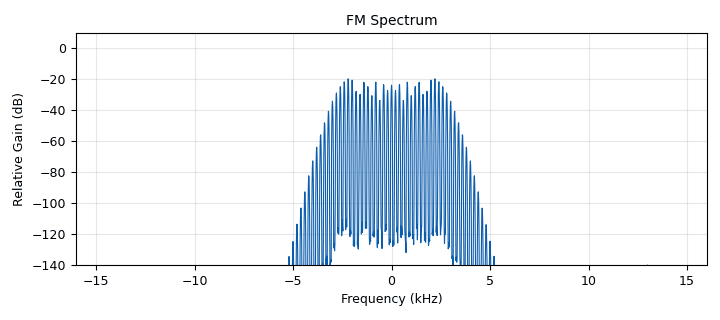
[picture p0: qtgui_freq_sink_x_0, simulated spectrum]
options:
  parameters:
    author: jithe
    generate_options: qt_gui
    id: fm_modulation
    output_language: python
    title: Not titled yet
  states: {}

blocks:
- name: samp_rate
  id: variable
  parameters:
    value: '32000'
  states: {}
- name: analog_frequency_modulator_fc_0
  id: analog_frequency_modulator_fc
  parameters:
    sensitivity: '0.5'
  states: {}
- name: analog_sig_source_x_0
  id: analog_sig_source_x
  parameters:
    amp: '1'
    freq: '200'
    offset: '0'
    phase: '0'
    samp_rate: samp_rate
    type: float
    waveform: analog.GR_COS_WAVE
  states: {}
- name: qtgui_freq_sink_x_0
  id: qtgui_freq_sink_x
  parameters:
    bw: samp_rate
    fc: '0'
    fftsize: '2048'
    name: '"FM Spectrum"'
    type: complex
  states: {}

connections:
- [analog_frequency_modulator_fc_0, '0', qtgui_freq_sink_x_0, '0']
- [analog_sig_source_x_0, '0', analog_frequency_modulator_fc_0, '0']

metadata:
  file_format: 1
  grc_version: 3.10.12.0
